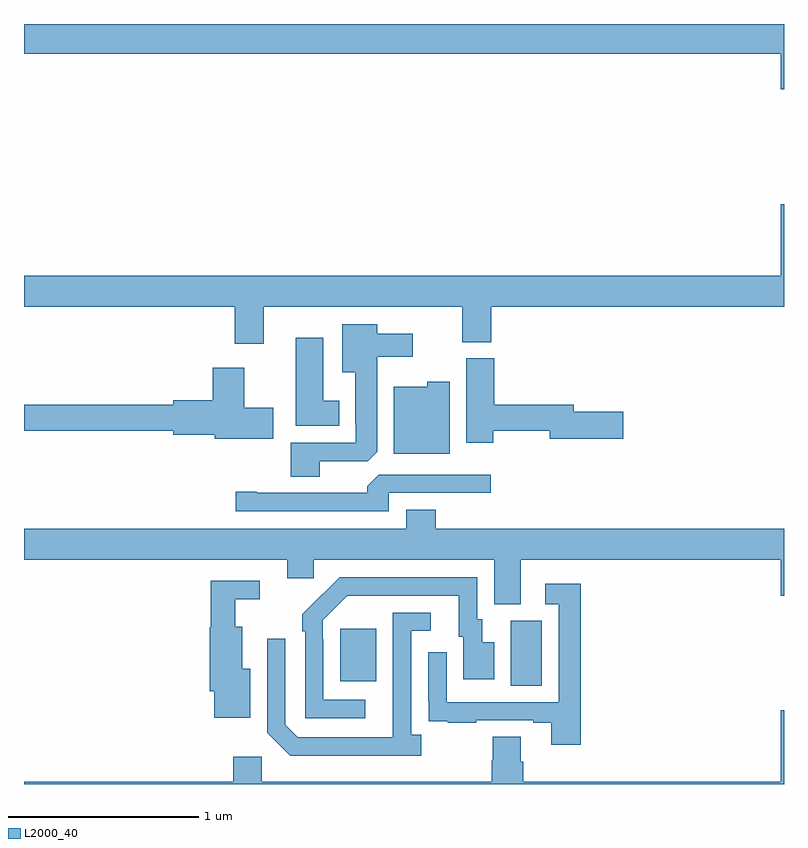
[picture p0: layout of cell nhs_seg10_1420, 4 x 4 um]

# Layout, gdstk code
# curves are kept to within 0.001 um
import gdstk
lib = gdstk.Library(unit=1e-6, precision=1e-09)
def R(c, l, rs):  # rectangles x0, y0, x1, y1
    for r in rs: c.add(gdstk.rectangle(r[:2], r[2:], *l))
def P(c, l, *ps):  # polygons
    for p in ps: c.add(gdstk.Polygon(p, *l))
L2000_40 = (2000, 40)

nhs_seg10_1420 = lib.new_cell('nhs_seg10_1420')
R(nhs_seg10_1420, L2000_40, [(187.562,1269.016,187.726,1269.36), (186.665,1269.041,186.853,1269.316)])
P(nhs_seg10_1420, L2000_40, [(189,1272.5),(185,1272.5),(185,1272.344),(188.984,1272.344),(188.984,1272.156),(189,1272.156)],
  [(186.262,1271.012),(187.307,1271.012),(187.307,1270.825),(187.46,1270.825),(187.46,1271.012),(189,1271.012),(189,1271.551),(188.984,1271.551),(188.984,1271.176),(185,1271.176),(185,1271.012),(186.11,1271.012),(186.11,1270.818),(186.262,1270.818)],
  [(186.556,1270.2),(186.81,1270.2),(186.859,1270.249),(186.859,1270.748),(187.045,1270.748),(187.045,1270.87),(186.859,1270.87),(186.859,1270.921),(186.674,1270.921),(186.674,1270.667),(186.743,1270.667),(186.743,1270.393),(186.747,1270.393),(186.747,1270.296),(186.404,1270.296),(186.404,1270.117),(186.556,1270.117)],
  [(186.658,1270.516),(186.574,1270.516),(186.574,1270.849),(186.431,1270.849),(186.431,1270.385),(186.658,1270.385)],
  [(187.47,1270.36),(187.766,1270.36),(187.766,1270.318),(188.155,1270.318),(188.155,1270.46),(187.894,1270.46),(187.894,1270.496),(187.475,1270.496),(187.475,1270.74),(187.328,1270.74),(187.328,1270.296),(187.47,1270.296)],
  [(186.313,1270.479),(186.16,1270.479),(186.16,1270.69),(185.993,1270.69),(185.993,1270.52),(185.786,1270.52),(185.786,1270.496),(185,1270.496),(185,1270.36),(185.786,1270.36),(185.786,1270.337),(186.005,1270.337),(186.005,1270.316),(186.313,1270.316)],
  [(187.24,1270.618),(187.122,1270.618),(187.122,1270.591),(186.947,1270.591),(186.947,1270.238),(187.24,1270.238)],
  [(186.921,1270.032),(187.456,1270.032),(187.456,1270.128),(186.867,1270.128),(186.806,1270.066),(186.806,1270.032),(186.226,1270.032),(186.226,1270.037),(186.114,1270.037),(186.114,1269.936),(186.921,1269.936)],
  [(187.615,1269.68),(188.984,1269.68),(188.984,1269.492),(189,1269.492),(189,1269.844),(187.166,1269.844),(187.166,1269.943),(187.013,1269.943),(187.013,1269.844),(185,1269.844),(185,1269.68),(186.386,1269.68),(186.386,1269.582),(186.525,1269.582),(186.525,1269.68),(187.475,1269.68),(187.475,1269.445),(187.615,1269.445)],
  [(186.796,1268.943),(186.576,1268.943),(186.576,1269.263),(186.573,1269.263),(186.573,1269.363),(186.702,1269.492),(187.289,1269.492),(187.289,1269.276),(187.313,1269.276),(187.313,1269.051),(187.474,1269.051),(187.474,1269.247),(187.411,1269.247),(187.411,1269.366),(187.386,1269.366),(187.386,1269.588),(186.662,1269.588),(186.465,1269.393),(186.465,1269.305),(186.48,1269.305),(186.48,1268.847),(186.796,1268.847)],
  [(186.19,1269.106),(186.148,1269.106),(186.148,1269.328),(186.112,1269.328),(186.112,1269.473),(186.241,1269.473),(186.241,1269.57),(185.983,1269.57),(185.983,1269.324),(185.978,1269.324),(185.978,1268.988),(186.002,1268.988),(186.002,1268.849),(186.19,1268.849)],
  [(187.931,1269.553),(187.743,1269.553),(187.743,1269.447),(187.815,1269.447),(187.815,1268.931),(187.224,1268.931),(187.224,1269.193),(187.128,1269.193),(187.128,1268.938),(187.129,1268.938),(187.129,1268.829),(187.231,1268.829),(187.231,1268.823),(187.379,1268.823),(187.379,1268.835),(187.679,1268.835),(187.679,1268.823),(187.775,1268.823),(187.775,1268.706),(187.931,1268.706)],
  [(187.09,1268.758),(187.038,1268.758),(187.038,1269.306),(187.141,1269.306),(187.141,1269.402),(186.942,1269.402),(186.941,1268.745),(186.441,1268.745),(186.375,1268.811),(186.375,1269.265),(186.279,1269.265),(186.279,1268.769),(186.4,1268.648),(187.09,1268.648)],
  [(189,1268.887),(188.984,1268.887),(188.984,1268.512),(187.628,1268.512),(187.628,1268.618),(187.615,1268.618),(187.615,1268.75),(187.468,1268.75),(187.468,1268.625),(187.463,1268.625),(187.463,1268.512),(186.252,1268.512),(186.252,1268.644),(186.101,1268.644),(186.101,1268.512),(185,1268.512),(185,1268.5),(189,1268.5)])

lib.write_gds('nhs_seg10_1420.gds')
